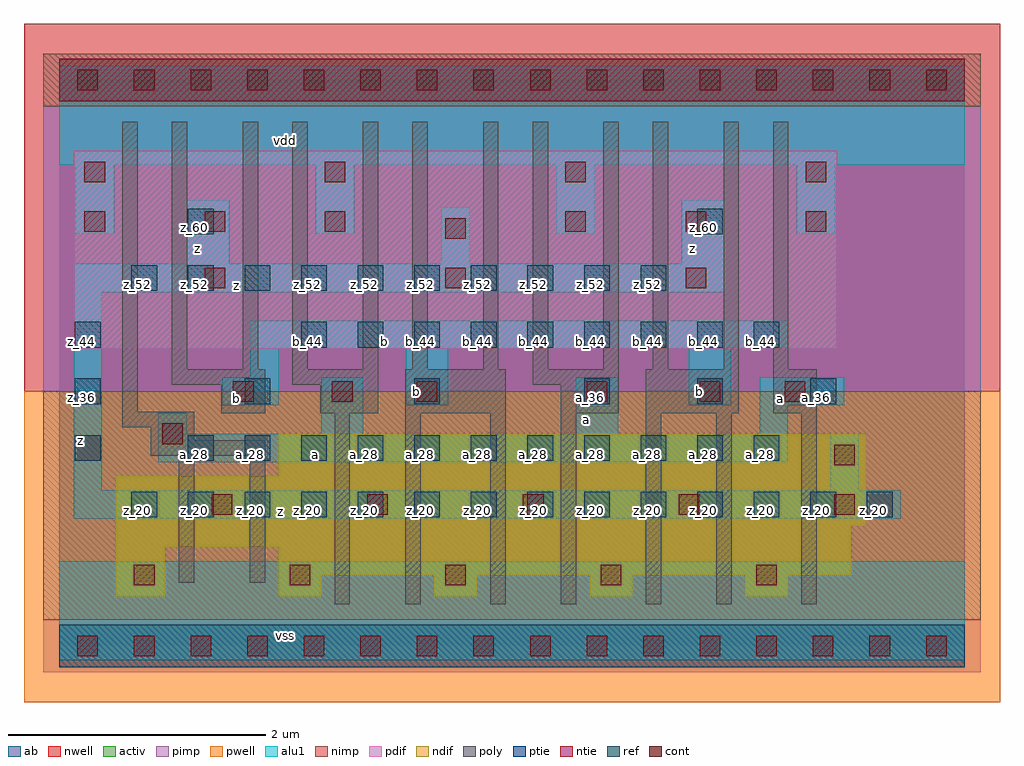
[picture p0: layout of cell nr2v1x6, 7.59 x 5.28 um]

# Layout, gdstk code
import gdstk
lib = gdstk.Library(unit=1e-6, precision=2.5e-09)
def R(c, l, rs):  # rectangles x0, y0, x1, y1
    for r in rs: c.add(gdstk.rectangle(r[:2], r[2:], *l))
def A(c, l, x, y, w, h, nx, ny, dx, dy):  # array of equal rectangles
    R(c, l, [(x+i*dx, y+j*dy, x+i*dx+w, y+j*dy+h) for i in range(nx) for j in range(ny)])
ndif = (3, 0)
pdif = (4, 0)
ntie = (5, 0)
ptie = (6, 0)
ref = (24, 0)
cont = (25, 0)
pwell = (41, 0)
nwell = (42, 0)
activ = (43, 0)
pimp = (44, 0)
nimp = (45, 0)
poly = (46, 0)
alu1 = (49, 0)
ab = (63, 0)

nr2v1x6 = lib.new_cell('nr2v1x6')
A(nr2v1x6, ndif, 1.705, 0.385, 0.33, 0.165, 4, 1, 1.21, 0)
R(nr2v1x6, ndif, [(0.44,0.385,0.825,0.77), (1.705,0.55,6.16,0.77), (0.44,0.77,6.16,0.935), (0.44,0.935,6.27,1.32), (1.705,1.32,6.27,1.65)])
R(nr2v1x6, pdif, [(0.11,2.31,6.05,3.85)])
R(nr2v1x6, ntie, [(0,4.235,7.04,4.565)])
R(nr2v1x6, ptie, [(0,-0.165,7.04,0.165)])
A(nr2v1x6, ref, 0.56, 1, 0.2, 0.2, 14, 1, 0.44, 0)
A(nr2v1x6, ref, 1, 1.44, 0.2, 0.2, 11, 1, 0.44, 0)
A(nr2v1x6, ref, 0.12, 1.88, 0.2, 0.2, 4, 1, 1.32, 0)
A(nr2v1x6, ref, 1.88, 2.32, 0.2, 0.2, 9, 1, 0.44, 0)
A(nr2v1x6, ref, 0.56, 2.76, 0.2, 0.2, 10, 1, 0.44, 0)
R(nr2v1x6, ref, [(0.12,1.44,0.32,1.64), (4.96,1.88,5.16,2.08), (5.84,1.88,6.04,2.08), (0.12,2.32,0.32,2.52), (1,3.2,1.2,3.4), (4.96,3.2,5.16,3.4)])
A(nr2v1x6, cont, 0.14, -0.08, 0.16, 0.16, 16, 2, 0.44, 4.4)
A(nr2v1x6, cont, 0.58, 0.47, 0.16, 0.16, 5, 1, 1.21, 0)
A(nr2v1x6, cont, 1.185, 1.02, 0.16, 0.16, 5, 1, 1.21, 0)
A(nr2v1x6, cont, 1.13, 2.78, 0.16, 0.16, 3, 1, 1.87, 0)
A(nr2v1x6, cont, 0.195, 3.22, 0.16, 0.16, 3, 1, 0.935, 0)
A(nr2v1x6, cont, 3.935, 3.22, 0.16, 0.16, 3, 1, 0.935, 0)
A(nr2v1x6, cont, 0.195, 3.605, 0.16, 0.16, 4, 1, 1.87, 0)
R(nr2v1x6, cont, [(6.025,1.405,6.185,1.565), (0.8,1.57,0.96,1.73), (1.35,1.9,1.51,2.06), (2.12,1.9,2.28,2.06), (2.78,1.9,2.94,2.06), (4.1,1.9,4.26,2.06), (4.98,1.9,5.14,2.06), (5.64,1.9,5.8,2.06), (3,3.165,3.16,3.325)])
R(nr2v1x6, pwell, [(-0.275,-0.44,7.315,1.98)])
R(nr2v1x6, nwell, [(-0.275,1.98,7.315,4.84)])
A(nr2v1x6, activ, 1.705, 0.385, 0.33, 0.165, 4, 1, 1.21, 0)
R(nr2v1x6, activ, [(0,-0.165,7.04,0.165), (0.44,0.385,0.825,0.77), (1.705,0.55,6.16,0.77), (0.44,0.77,6.16,0.935), (0.44,0.935,6.27,1.32), (1.705,1.32,6.27,1.65), (0.11,2.31,6.05,3.85), (0,4.235,7.04,4.565)])
R(nr2v1x6, pimp, [(-0.125,-0.205,7.165,0.205), (-0.125,1.98,7.165,4.195)])
R(nr2v1x6, nimp, [(-0.125,0.205,7.165,1.98), (-0.125,4.195,7.165,4.605)])
R(nr2v1x6, poly, [(2.14,0.325,2.26,1.81), (2.69,0.325,2.81,1.81), (3.35,0.325,3.47,1.81), (3.9,0.325,4.02,1.81), (4.56,0.325,4.68,1.81), (5.11,0.325,5.23,1.81), (5.77,0.325,5.89,1.81), (0.93,0.49,1.05,1.48), (1.48,0.49,1.6,1.48), (0.71,1.48,1.6,1.6), (0.71,1.6,1.05,1.7), (0.49,1.7,1.05,1.82), (1.26,1.81,1.6,2.03), (2.03,1.81,2.48,2.03), (2.69,1.81,3.47,2.15), (3.9,1.81,4.35,2.03), (4.56,1.81,5.285,2.15), (5.55,1.81,5.89,2.15), (0.49,1.82,0.61,4.075), (0.875,2.03,1.6,2.15), (1.81,2.03,2.48,2.15), (3.68,2.03,4.35,2.15), (0.875,2.15,0.995,4.075), (1.425,2.15,1.545,4.075), (1.81,2.15,1.93,4.075), (2.36,2.15,2.48,4.075), (2.745,2.15,2.865,4.075), (3.295,2.15,3.415,4.075), (3.68,2.15,3.8,4.075), (4.23,2.15,4.35,4.075), (4.615,2.15,4.735,4.075), (5.165,2.15,5.285,4.075), (5.55,2.15,5.67,4.075)])
A(nr2v1x6, alu1, 0.125, 3.205, 0.3, 0.535, 4, 1, 1.87, 0)
R(nr2v1x6, alu1, [(0,-0.11,7.04,0.66), (0.11,0.99,6.545,1.21), (0.11,1.21,0.33,2.75), (5.995,1.21,6.215,1.65), (0.77,1.43,5.665,1.65), (0.77,1.65,0.99,1.815), (2.035,1.65,2.365,2.09), (4.015,1.65,4.345,2.09), (5.445,1.65,5.665,1.87), (1.265,1.87,1.705,2.09), (2.695,1.87,3.025,2.31), (4.895,1.87,5.225,2.31), (5.445,1.87,6.105,2.09), (1.485,2.09,1.705,2.31), (1.485,2.31,5.665,2.53), (0.11,2.75,5.17,2.97), (0.99,2.97,1.32,3.465), (2.97,2.97,3.19,3.41), (4.84,2.97,5.17,3.465), (0,3.74,7.04,4.51)])
R(nr2v1x6, ab, [(0,0,7.04,4.4)])
nr2v1x6.add(gdstk.Label('vss', (1.76,0.0825), layer=49, texttype=0))
nr2v1x6.add(gdstk.Label('z', (1.7175,1.045), layer=49, texttype=0))
nr2v1x6.add(gdstk.Label('a', (1.9925,1.485), layer=49, texttype=0))
nr2v1x6.add(gdstk.Label('a', (5.61,1.925), layer=49, texttype=0))
nr2v1x6.add(gdstk.Label('b', (4.9775,1.98), layer=49, texttype=0))
nr2v1x6.add(gdstk.Label('a', (4.0975,1.76), layer=49, texttype=0))
nr2v1x6.add(gdstk.Label('b', (2.7775,1.98), layer=49, texttype=0))
nr2v1x6.add(gdstk.Label('b', (1.375,1.925), layer=49, texttype=0))
nr2v1x6.add(gdstk.Label('b', (2.53,2.365), layer=49, texttype=0))
nr2v1x6.add(gdstk.Label('z', (0.165,1.595), layer=49, texttype=0))
nr2v1x6.add(gdstk.Label('z', (1.375,2.805), layer=49, texttype=0))
nr2v1x6.add(gdstk.Label('z', (4.9225,3.0925), layer=49, texttype=0))
nr2v1x6.add(gdstk.Label('z', (1.0725,3.0925), layer=49, texttype=0))
nr2v1x6.add(gdstk.Label('vdd', (1.76,3.9325), layer=49, texttype=0))
nr2v1x6.add(gdstk.Label('z_60', (5.01,3.25), layer=24, texttype=0))
nr2v1x6.add(gdstk.Label('b_44', (5.01,2.37), layer=24, texttype=0))
nr2v1x6.add(gdstk.Label('b_36', (5.01,1.93), layer=24, texttype=0))
nr2v1x6.add(gdstk.Label('a_28', (5.01,1.49), layer=24, texttype=0))
nr2v1x6.add(gdstk.Label('z_20', (5.01,1.05), layer=24, texttype=0))
nr2v1x6.add(gdstk.Label('z_52', (4.57,2.81), layer=24, texttype=0))
nr2v1x6.add(gdstk.Label('b_44', (4.57,2.37), layer=24, texttype=0))
nr2v1x6.add(gdstk.Label('a_28', (4.57,1.49), layer=24, texttype=0))
nr2v1x6.add(gdstk.Label('z_20', (4.57,1.05), layer=24, texttype=0))
nr2v1x6.add(gdstk.Label('z_52', (4.13,2.81), layer=24, texttype=0))
nr2v1x6.add(gdstk.Label('b_44', (4.13,2.37), layer=24, texttype=0))
nr2v1x6.add(gdstk.Label('a_36', (4.13,1.93), layer=24, texttype=0))
nr2v1x6.add(gdstk.Label('a_28', (4.13,1.49), layer=24, texttype=0))
nr2v1x6.add(gdstk.Label('z_20', (4.13,1.05), layer=24, texttype=0))
nr2v1x6.add(gdstk.Label('z_52', (3.69,2.81), layer=24, texttype=0))
nr2v1x6.add(gdstk.Label('b_44', (3.69,2.37), layer=24, texttype=0))
nr2v1x6.add(gdstk.Label('a_28', (3.69,1.49), layer=24, texttype=0))
nr2v1x6.add(gdstk.Label('z_20', (3.69,1.05), layer=24, texttype=0))
nr2v1x6.add(gdstk.Label('z_52', (3.25,2.81), layer=24, texttype=0))
nr2v1x6.add(gdstk.Label('b_44', (3.25,2.37), layer=24, texttype=0))
nr2v1x6.add(gdstk.Label('a_28', (3.25,1.49), layer=24, texttype=0))
nr2v1x6.add(gdstk.Label('z_20', (3.25,1.05), layer=24, texttype=0))
nr2v1x6.add(gdstk.Label('z_52', (2.81,2.81), layer=24, texttype=0))
nr2v1x6.add(gdstk.Label('b_44', (2.81,2.37), layer=24, texttype=0))
nr2v1x6.add(gdstk.Label('b_36', (2.81,1.93), layer=24, texttype=0))
nr2v1x6.add(gdstk.Label('a_28', (2.81,1.49), layer=24, texttype=0))
nr2v1x6.add(gdstk.Label('z_20', (2.81,1.05), layer=24, texttype=0))
nr2v1x6.add(gdstk.Label('z_52', (2.37,2.81), layer=24, texttype=0))
nr2v1x6.add(gdstk.Label('b_44', (2.37,2.37), layer=24, texttype=0))
nr2v1x6.add(gdstk.Label('a_28', (2.37,1.49), layer=24, texttype=0))
nr2v1x6.add(gdstk.Label('z_20', (2.37,1.05), layer=24, texttype=0))
nr2v1x6.add(gdstk.Label('z_44', (0.17,2.37), layer=24, texttype=0))
nr2v1x6.add(gdstk.Label('z_36', (0.17,1.93), layer=24, texttype=0))
nr2v1x6.add(gdstk.Label('z_28', (0.17,1.49), layer=24, texttype=0))
nr2v1x6.add(gdstk.Label('z_52', (1.93,2.81), layer=24, texttype=0))
nr2v1x6.add(gdstk.Label('b_44', (1.93,2.37), layer=24, texttype=0))
nr2v1x6.add(gdstk.Label('a_28', (1.93,1.49), layer=24, texttype=0))
nr2v1x6.add(gdstk.Label('z_20', (1.93,1.05), layer=24, texttype=0))
nr2v1x6.add(gdstk.Label('z_52', (1.49,2.81), layer=24, texttype=0))
nr2v1x6.add(gdstk.Label('b_36', (1.49,1.93), layer=24, texttype=0))
nr2v1x6.add(gdstk.Label('a_28', (1.49,1.49), layer=24, texttype=0))
nr2v1x6.add(gdstk.Label('z_20', (1.49,1.05), layer=24, texttype=0))
nr2v1x6.add(gdstk.Label('z_60', (1.05,3.25), layer=24, texttype=0))
nr2v1x6.add(gdstk.Label('z_52', (1.05,2.81), layer=24, texttype=0))
nr2v1x6.add(gdstk.Label('a_28', (1.05,1.49), layer=24, texttype=0))
nr2v1x6.add(gdstk.Label('z_20', (1.05,1.05), layer=24, texttype=0))
nr2v1x6.add(gdstk.Label('z_52', (0.61,2.81), layer=24, texttype=0))
nr2v1x6.add(gdstk.Label('z_20', (0.61,1.05), layer=24, texttype=0))
nr2v1x6.add(gdstk.Label('z_20', (6.33,1.05), layer=24, texttype=0))
nr2v1x6.add(gdstk.Label('a_36', (5.89,1.93), layer=24, texttype=0))
nr2v1x6.add(gdstk.Label('z_20', (5.89,1.05), layer=24, texttype=0))
nr2v1x6.add(gdstk.Label('b_44', (5.45,2.37), layer=24, texttype=0))
nr2v1x6.add(gdstk.Label('a_28', (5.45,1.49), layer=24, texttype=0))
nr2v1x6.add(gdstk.Label('z_20', (5.45,1.05), layer=24, texttype=0))

lib.write_gds('nr2v1x6.gds')
